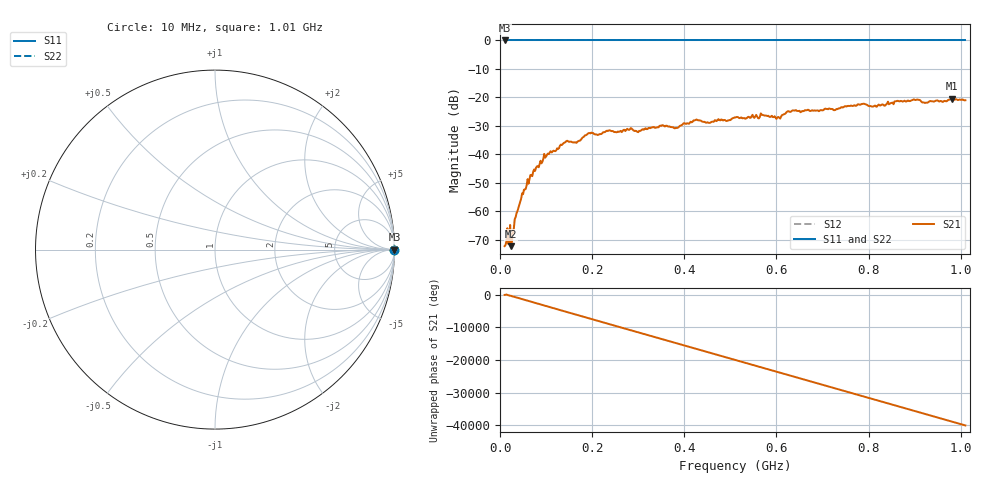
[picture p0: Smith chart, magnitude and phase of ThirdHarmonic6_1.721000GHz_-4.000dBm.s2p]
! 8/16/2025 8:42:47 PM
! C:\ANRITSUVNA\TEMP\TEMP.S2P
! CHANNEL.1
! TR.MEASUREMENT
! RAW.DATA
! RF.CORRECTION.OFF
! AVERAGING.OFF
! IF.BANDWIDTH: 5KHZ
! SWEEPTYPE:  FREQ.SWEEP(Linear)
! Reference Plane Port Info
! PORT:  PORT1  PORT2
! DISTANCE:  0  m  0  m
! TIME:  0  s  0  s
! PHASE.OFFSET:  0  deg.  0  deg.
! LOSS:  0  dB  0  dB
! REF.LOSS:  0  dB  0  dB
! REF.FREQ:  0  Hz  0  Hz
! Power Info
! POWER:  -20  dBm  -20  dBm
! EFF.POWER:  -20  dBm  -20  dBm
! SOURCE.ATTEN:  0  dB  0  dB
! TEST.ATTEN:  0  dB  0  dB
# GHZ S RI R 50.0
! FREQ.GHZ  S11RE  S11IM  S21RE  S21IM  S12RE  S12IM  S22RE  S22IM
!; PortSelection: Port_12
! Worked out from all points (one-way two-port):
!   501 points, 10 MHz to 1.01 GHz, reference 50 ohm
!   highest |S21| = -20.48 dB at 980 MHz (marker M1); lowest = -72.3 dB at 24 MHz (marker M2)
!   lowest |S11| = 0.0 dB at 10 MHz (marker M3)
!   |S11| at or under -10 dB: nowhere
!   |S22| runs from 0.0 to 0.0 dB; largest |S21 - S12| = 1.1
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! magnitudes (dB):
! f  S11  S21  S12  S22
! 10 MHz  0.0  -72.3  0.0  0.0
! 18 MHz  0.0  -71.6  0.0  0.0
! 24 MHz  0.0  -72.3  0.0  0.0
! 28 MHz  0.0  -67.3  0.0  0.0
! 36 MHz  0.0  -60.7  0.0  0.0
! 48 MHz  0.0  -53.8  0.0  0.0
! 76 MHz  0.0  -45.9  0.0  0.0
! 100 MHz  0.0  -40.8  0.0  0.0
! 142 MHz  0.0  -35.7  0.0  0.0
! 178 MHz  0.0  -34.3  0.0  0.0
! 196 MHz  0.0  -32.7  0.0  0.0
! 344 MHz  0.0  -30.5  0.0  0.0
! 382 MHz  0.0  -30.7  0.0  0.0
! 424 MHz  0.0  -28.0  0.0  0.0
! 452 MHz  0.0  -28.9  0.0  0.0
! 510 MHz  0.0  -27.0  0.0  0.0
! 604 MHz  0.0  -26.9  0.0  0.0
! 638 MHz  0.0  -24.6  0.0  0.0
! 678 MHz  0.0  -24.6  0.0  0.0
! 844 MHz  0.0  -22.4  0.0  0.0
! 980 MHz  0.0  -20.5  0.0  0.0
! 1.01 GHz  0.0  -21.0  0.0  0.0
